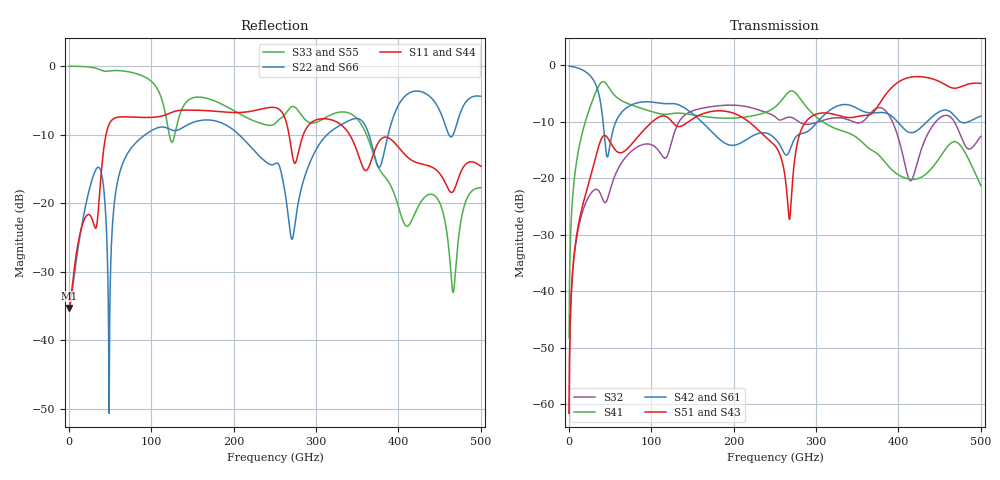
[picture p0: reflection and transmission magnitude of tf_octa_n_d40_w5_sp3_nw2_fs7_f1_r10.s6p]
! Touchstone simulation data from EMX version 2023.1.0
! Fri Oct 10 10:18:07 2025
! EMX was run on gilbert.lte.e-technik.uni-erlangen.de as:
! /opt/emx/EMX_23.10.000/tools.lnx86/emx/bin/64bit/emx
! /home/users/simone/cds_SG13G2_lehre/cds/cdsTECL/tf_octa_n/tf_octa_n_d40_w5_sp3_nw2_fs7_f1_r10.gds
! tf_octa_n EMX_proc/sg13_al.proc --cadence-pins=1 --label-depth=0
! --label-snap-distance=0.25 --port=ic=ic:icg --include=ic --port=in=in:ing
! --include=in --port=ip=ip:ipg --include=ip --port=oc=oc:ocg --include=oc
! --port=on=on:ong --include=on --port=op=op:opg --include=op
! --log-file=/home/users/simone/cds_SG13G2_lehre/cds/cdsTECL/tf_octa_n/tf_octa_n_d40_w5_sp3_nw2_fs7_f1_r10_emx.log
! --format=touchstone
! --s-file=/home/users/simone/cds_SG13G2_lehre/cds/cdsTECL/tf_octa_n/tf_octa_n_d40_w5_sp3_nw2_fs7_f1_r10.snp
! --include-port-order --include-command-line --print-command-line
! --edge-width=0.075 --thickness=0.125 --via-separation=1.2 --3d=*
! --via-sidewall=* --via-inductance=* --quasistatic --sweep 0 500e9
! --sweep-step=2.5e+08 --solve-for-s --parallel=0 --simultaneous-frequencies=0
! --max-memory=50 --print-connectivity
! Port order:
! 1 ic (ic:icg)
! 2 in (in:ing)
! 3 ip (ip:ipg)
! 4 oc (oc:ocg)
! 5 on (on:ong)
! 6 op (op:opg)
! SG13 cross section, version 22 November 2023
! parameters that can be controlled from EMX options line:
! totalthick=300 (total chip thickness, silicon + BEOL)
! ignore_metalsize=0.0 (remove small shapes that are less or equal than this)
! ignore_slotsize=0.0 (remove holes that are less or equal than this)
! via_spacing_factor=1.5 (merge vias that are given multiple of minimum via spacing)
! Known limitations: Rsil, Rppd and Rhigh results are not accurate for small dimensions
# Hz S RI R 50
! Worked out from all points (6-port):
!   2000 points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, 250 MHz to 500 GHz, reference 50 ohm
!   strongest paths, dB at 250 MHz, 125.2 GHz, 250.2 GHz, 375.2 GHz, 500 GHz:
!     S51: -61.5, -10.0, -14.2, -7.2, -3.2
!     S43: -61.5, -10.0, -14.2, -7.2, -3.2
!     S42: -0.2, -6.8, -13.0, -8.4, -9.0
!     S61: -0.2, -6.8, -13.0, -8.4, -9.0
!     S41: -48.2, -8.5, -7.4, -15.8, -21.3
!     S32: -61.6, -13.2, -9.1, -7.5, -12.6
!   lowest |S11| = -35.3 dB at 250 MHz (marker M1), VSWR 1.04, Z = 51.8 - j0.0917 ohm
!   |S11| at or under -10 dB: start of sweep to 45 GHz; 267.2 GHz to 284.5 GHz (17.29 GHz wide, 6.27 % of centre); 340.7 GHz to end of sweep
